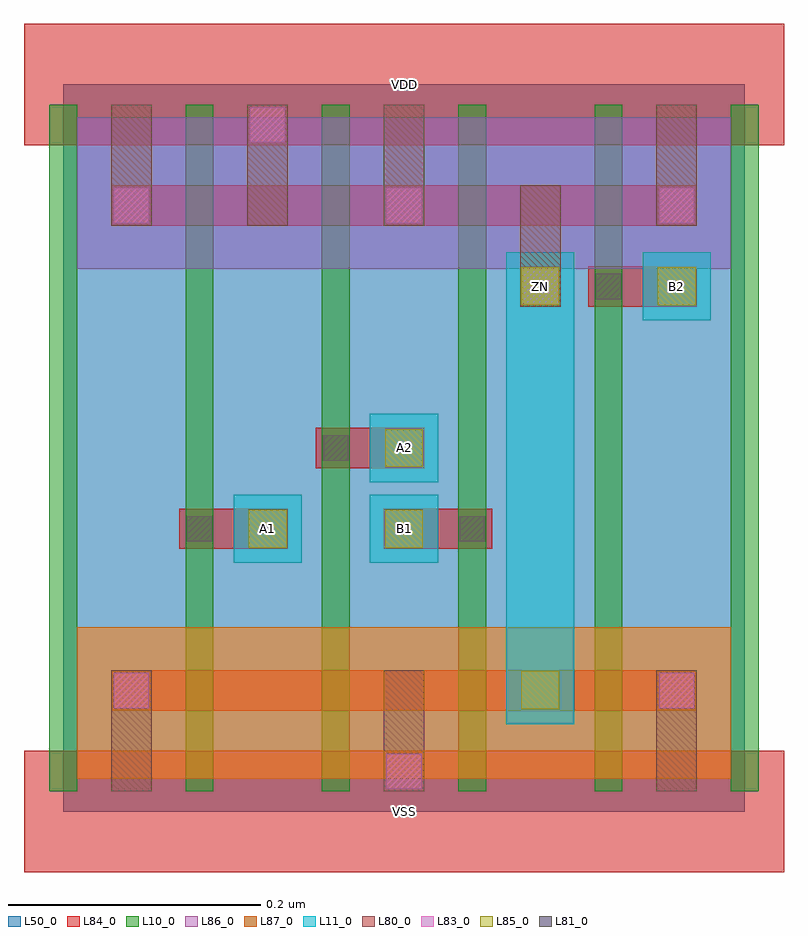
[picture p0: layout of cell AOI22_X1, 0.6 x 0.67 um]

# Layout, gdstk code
import gdstk
lib = gdstk.Library(unit=1e-6, precision=1e-09)
def R(c, l, rs):  # rectangles x0, y0, x1, y1
    for r in rs: c.add(gdstk.rectangle(r[:2], r[2:], *l))
def A(c, l, x, y, w, h, nx, ny, dx, dy):  # array of equal rectangles
    R(c, l, [(x+i*dx, y+j*dy, x+i*dx+w, y+j*dy+h) for i in range(nx) for j in range(ny)])
L10_0 = (10, 0)
L11_0 = (11, 0)
L50_0 = (50, 0)
L80_0 = (80, 0)
L81_0 = (81, 0)
L83_0 = (83, 0)
L84_0 = (84, 0)
L85_0 = (85, 0)
L86_0 = (86, 0)
L87_0 = (87, 0)

aoi22_x1 = lib.new_cell('AOI22_X1')
A(aoi22_x1, L10_0, -0.011, 0.016, 0.022, 0.544, 6, 1, 0.108, 0)
R(aoi22_x1, L11_0, [(0.351,0.069,0.405,0.443), (0.135,0.197,0.189,0.251), (0.243,0.197,0.297,0.251), (0.243,0.261,0.297,0.315), (0.459,0.389,0.513,0.443)])
R(aoi22_x1, L50_0, [(0,0,0.54,0.576)])
A(aoi22_x1, L80_0, 0.038, 0.016, 0.032, 0.096, 3, 1, 0.216, 0)
A(aoi22_x1, L80_0, 0.038, 0.464, 0.032, 0.096, 3, 1, 0.108, 0)
R(aoi22_x1, L80_0, [(0.362,0.4,0.394,0.496), (0.47,0.464,0.502,0.56)])
R(aoi22_x1, L81_0, [(0.098,0.214,0.118,0.234), (0.314,0.214,0.334,0.234), (0.206,0.278,0.226,0.298), (0.422,0.406,0.442,0.426)])
A(aoi22_x1, L83_0, 0.04, 0.466, 0.028, 0.028, 3, 1, 0.216, 0)
R(aoi22_x1, L83_0, [(0.256,0.018,0.284,0.046), (0.04,0.082,0.068,0.11), (0.472,0.082,0.5,0.11), (0.364,0.402,0.392,0.43), (0.148,0.53,0.176,0.558)])
R(aoi22_x1, L84_0, [(-0.031,-0.048,0.571,0.048), (0.038,0.08,0.502,0.112), (0.092,0.208,0.178,0.24), (0.254,0.208,0.34,0.24), (0.2,0.272,0.286,0.304), (0.362,0.4,0.394,0.432), (0.416,0.4,0.502,0.432), (0.038,0.464,0.502,0.496), (-0.031,0.528,0.571,0.624)])
R(aoi22_x1, L85_0, [(0.363,0.081,0.393,0.111), (0.147,0.209,0.177,0.239), (0.255,0.209,0.285,0.239), (0.255,0.273,0.285,0.303), (0.363,0.401,0.393,0.431), (0.471,0.401,0.501,0.431)])
R(aoi22_x1, L86_0, [(0.011,0.43,0.529,0.55)])
R(aoi22_x1, L87_0, [(0.011,0.026,0.529,0.146)])
aoi22_x1.add(gdstk.Label('VDD', (0.27,0.576), layer=88, texttype=0))
aoi22_x1.add(gdstk.Label('VSS', (0.27,0), layer=88, texttype=0))
aoi22_x1.add(gdstk.Label('ZN', (0.378,0.416), layer=31, texttype=0))
aoi22_x1.add(gdstk.Label('B1', (0.27,0.224), layer=31, texttype=0))
aoi22_x1.add(gdstk.Label('A1', (0.162,0.224), layer=31, texttype=0))
aoi22_x1.add(gdstk.Label('A2', (0.27,0.288), layer=31, texttype=0))
aoi22_x1.add(gdstk.Label('B2', (0.486,0.416), layer=31, texttype=0))

lib.write_gds('AOI22_X1.gds')
